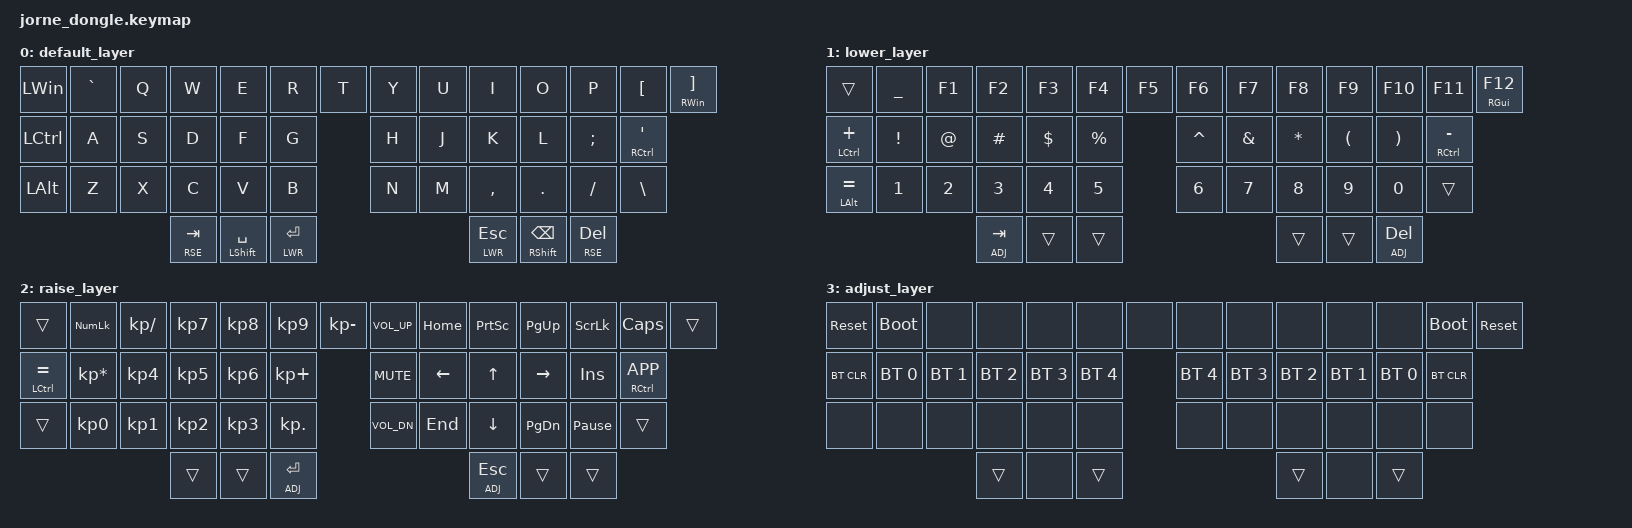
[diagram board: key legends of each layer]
/*
 * ------------------------------------------------------------------
 * Файл:      jorne_dongle.keymap
 * Версия:    4.0
 * Автор:     Evgeniy Moskovkin
 * Описание:  Раскладка Jorne (44 клавиши) на основе официального
 *            keymap автора платы (joric/zmk, ветка jorne).
 *            4 слоя: default -> lower -> raise -> adjust.
 *            RGB-команды не используются (на плате нет RGB).
 *            Добавлено комбо для разблокировки ZMK Studio.
 * ------------------------------------------------------------------
 */

#include <behaviors.dtsi>
#include <dt-bindings/zmk/keys.h>
#include <dt-bindings/zmk/bt.h>

#define DEF 0
#define LWR 1
#define RSE 2
#define ADJ 3

/ {
    chosen {
        zmk,physical-layout = &physical_layout0;
    };

    keymap {
        compatible = "zmk,keymap";

        default_layer {
            // -----------------------------------------------------------------------------------------
            // | GUI  | ~ | Q | W | E | R | T |             | Y | U | K | O | P |  [   |  GUI/]  |
            // | CTRL | A | S | D | F | G |                 | H | J | K | L | ; | CTRL/' |
            // | LALT | Z | X | C | V | B |                 | N | M | , | . | / | \   |
            // |      RSE TAB | SHFT SPC | LWR RET |         | LWR ESC | SHFT BSPC | RSE DEL |
            bindings = <
&kp LWIN  &kp GRAVE &kp Q &kp W    &kp E  &kp R  &kp T        &kp Y      &kp U  &kp I      &kp O    &kp P     &kp LBKT       &mt RWIN RBKT
&kp LCTRL &kp A     &kp S &kp D    &kp F  &kp G                &kp H      &kp J  &kp K      &kp L    &kp SEMI  &mt RCTRL SQT
&kp LALT  &kp Z     &kp X &kp C    &kp V  &kp B                &kp N      &kp M  &kp COMMA  &kp DOT  &kp FSLH  &kp BSLH
                           &lt RSE TAB  &mt LSHFT SPACE  &lt LWR RET     &lt LWR ESC  &mt RSHFT BSPC  &lt RSE DEL
            >;
        };

        lower_layer {
            // -----------------------------------------------------------------------------------------
            // |      | _ | F1 | F2 | F3 | F4 | F5 |         | F6 | F7 | F8 | F9 | F10 | F11 | GUI/F12 |
            // | CTRL/+| ! | @ | # | $ | % |                | ^  | &  | *  | (  | )   | CTRL/- |
            // | ALT/= | 1 | 2 | 3 | 4 | 5 |                 | 6  | 7  | 8  | 9  | 0   |    |
            // |      ADJ TAB |    |    |                    |    |    | ADJ DEL |
            bindings = <
&trans          &kp UNDER &kp F1 &kp F2 &kp F3 &kp F4 &kp F5        &kp F6     &kp F7    &kp F8    &kp F9    &kp F10   &kp F11   &mt RGUI F12
&mt LCTRL PLUS  &kp EXCL  &kp AT &kp HASH &kp DLLR &kp PRCNT       &kp CARET  &kp AMPS  &kp STAR  &kp LPAR  &kp RPAR  &mt RCTRL MINUS
&mt LALT EQUAL  &kp N1    &kp N2 &kp N3 &kp N4 &kp N5              &kp N6     &kp N7    &kp N8    &kp N9    &kp N0    &trans
                          &lt ADJ TAB  &trans  &trans              &trans     &trans    &lt ADJ DEL
            >;
        };

        raise_layer {
            // -----------------------------------------------------------------------------------------
            // |      |NMLK| / | 7 | 8 | 9 | - |             |VOL+|HOME|PRSC|PGUP|SCLK|CAPS|    |
            // | CTRL/=| * | 4 | 5 | 6 | + |                 |MUTE|LEFT|UP  |RGHT|INS |CTRL/APP|
            // |      | 0 | 1 | 2 | 3 | . |                  |VOL-|END |DOWN|PGDN|PAUS|    |
            // |      |    | ADJ RET |    |                   | ADJ ESC |    |    |
            bindings = <
&trans          &kp KP_NUM &kp KP_SLASH &kp KP_N7 &kp KP_N8 &kp KP_N9 &kp KP_MINUS   &kp C_VOL_UP &kp HOME &kp PSCRN &kp PG_UP &kp SLCK &kp CAPS &trans
&mt LCTRL EQUAL &kp KP_MULTIPLY &kp KP_N4 &kp KP_N5 &kp KP_N6 &kp KP_PLUS            &kp C_MUTE &kp LEFT &kp UP &kp RIGHT &kp INS &mt RCTRL K_APP
&trans          &kp KP_N0 &kp KP_N1 &kp KP_N2 &kp KP_N3 &kp KP_DOT                   &kp C_VOL_DN &kp END &kp DOWN &kp PG_DN &kp PAUSE_BREAK &trans
                          &trans &trans &lt ADJ RET     &lt ADJ ESC &trans &trans
            >;
        };

        adjust_layer {
            // -----------------------------------------------------------------------------------------
            // | RST  |BLDR|    |    |    |    |    |         |    |    |    |    |    |BLDR|RST |
            // |BTCLR |BT0 |BT1 |BT2 |BT3 |BT4 |                |BT4 |BT3 |BT2 |BT1 |BT0 |BTCLR|
            // |      |    |    |    |    |    |                 |    |    |    |    |    |    |
            // |      |    |    |    |    |    |                  |    |    |    |
            bindings = <
&sys_reset &bootloader &none &none &none &none &none        &none &none &none &none &none &bootloader &sys_reset
&bt BT_CLR &bt BT_SEL 0 &bt BT_SEL 1 &bt BT_SEL 2 &bt BT_SEL 3 &bt BT_SEL 4    &bt BT_SEL 4 &bt BT_SEL 3 &bt BT_SEL 2 &bt BT_SEL 1 &bt BT_SEL 0 &bt BT_CLR
&none &none &none &none &none &none                          &none &none &none &none &none &none
                     &trans &none &trans      &trans &none &trans
            >;
        };
    };

    // Комбо для разблокировки ZMK Studio: одновременное нажатие
    // самых крайних клавиш больших пальцев (Tab слева + Del справа).
    // Эти клавиши редко нажимаются вместе при обычном наборе текста.
    combos {
        compatible = "zmk,combos";

        combo_studio_unlock {
            timeout-ms = <50>;
            key-positions = <38 43>;   // Tab (лев. большой палец) + Del (прав. большой палец)
            bindings = <&studio_unlock>;
        };
    };
};
